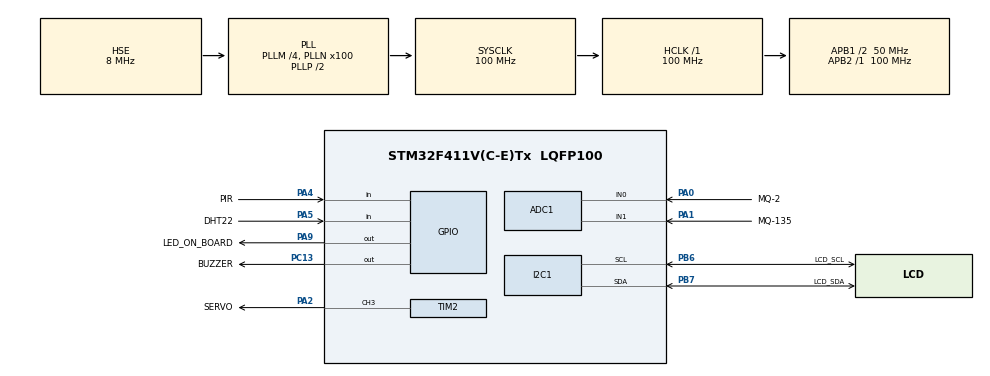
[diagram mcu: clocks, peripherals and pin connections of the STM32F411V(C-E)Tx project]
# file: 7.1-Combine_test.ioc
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ADC1.Channel-0\#ChannelRegularConversion=ADC_CHANNEL_0
ADC1.Channel-5\#ChannelRegularConversion=ADC_CHANNEL_1
ADC1.ContinuousConvMode=ENABLE
ADC1.DMAContinuousRequests=ENABLE
ADC1.InjNumberOfConversion=0
ADC1.NbrOfConversion=2
ADC1.NbrOfConversionFlag=1
ADC1.Rank-0\#ChannelRegularConversion=1
ADC1.Rank-5\#ChannelRegularConversion=2
ADC1.SamplingTime-0\#ChannelRegularConversion=ADC_SAMPLETIME_84CYCLES
ADC1.SamplingTime-5\#ChannelRegularConversion=ADC_SAMPLETIME_84CYCLES
ADC1.ScanConvMode=ENABLE
ADC1.master=1
Dma.ADC1.0.Direction=DMA_PERIPH_TO_MEMORY
Dma.ADC1.0.FIFOMode=DMA_FIFOMODE_DISABLE
Dma.ADC1.0.Instance=DMA2_Stream0
Dma.ADC1.0.MemDataAlignment=DMA_MDATAALIGN_HALFWORD
Dma.ADC1.0.MemInc=DMA_MINC_ENABLE
Dma.ADC1.0.Mode=DMA_CIRCULAR
Dma.ADC1.0.PeriphDataAlignment=DMA_PDATAALIGN_HALFWORD
Dma.ADC1.0.PeriphInc=DMA_PINC_DISABLE
Dma.ADC1.0.Priority=DMA_PRIORITY_LOW
Dma.Request0=ADC1
Mcu.Family=STM32F4
Mcu.Name=STM32F411V(C-E)Tx
Mcu.Package=LQFP100
NVIC.DMA2_Stream0_IRQn=true\:0\:0\:false\:false\:true\:false\:true\:true
NVIC.PriorityGroup=NVIC_PRIORITYGROUP_4
PA0-WKUP.GPIO_Label=MQ-2
PA0-WKUP.Signal=ADCx_IN0
PA1.GPIO_Label=MQ-135
PA1.Signal=ADCx_IN1
PA13.Mode=Serial_Wire
PA13.Signal=SYS_JTMS-SWDIO
PA14.Mode=Serial_Wire
PA14.Signal=SYS_JTCK-SWCLK
PA2.GPIO_Label=SERVO
PA2.Signal=S_TIM2_CH3
PA4.GPIO_Label=PIR
PA4.Signal=GPIO_Input
PA5.GPIO_Label=DHT22
PA5.Signal=GPIO_Input
PA9.GPIO_Label=LED_ON_BOARD
PA9.Signal=GPIO_Output
PB6.GPIO_Label=LCD_SCL
PB6.Mode=I2C
PB6.Signal=I2C1_SCL
PB7.GPIO_Label=LCD_SDA
PB7.Mode=I2C
PB7.Signal=I2C1_SDA
PC13-ANTI_TAMP.GPIO_Label=BUZZER
PC13-ANTI_TAMP.Signal=GPIO_Output
PH0\ -\ OSC_IN.Mode=HSE-External-Oscillator
PH0\ -\ OSC_IN.Signal=RCC_OSC_IN
PH1\ -\ OSC_OUT.Mode=HSE-External-Oscillator
PH1\ -\ OSC_OUT.Signal=RCC_OSC_OUT
ProjectManager.HeapSize=0x200
ProjectManager.StackSize=0x400
ProjectManager.TargetToolchain=STM32CubeIDE
RCC.48MHZClocksFreq_Value=50000000
RCC.AHBFreq_Value=100000000
RCC.APB1CLKDivider=RCC_HCLK_DIV2
RCC.APB1Freq_Value=50000000
RCC.APB1TimFreq_Value=100000000
RCC.APB2Freq_Value=100000000
RCC.APB2TimFreq_Value=100000000
RCC.CortexFreq_Value=100000000
RCC.HCLKFreq_Value=100000000
RCC.HSE_VALUE=8000000
RCC.HSI_VALUE=16000000
RCC.LSE_VALUE=32768
RCC.PLLM=4
RCC.PLLN=100
RCC.PLLSourceVirtual=RCC_PLLSOURCE_HSE
RCC.SYSCLKFreq_VALUE=100000000
RCC.SYSCLKSource=RCC_SYSCLKSOURCE_PLLCLK
RCC.VCOOutputFreq_Value=200000000
SH.ADCx_IN0.0=ADC1_IN0,IN0
SH.ADCx_IN1.0=ADC1_IN1,IN1
SH.S_TIM2_CH3.0=TIM2_CH3,PWM Generation3 CH3
TIM2.Channel-PWM\ Generation3\ CH3=TIM_CHANNEL_3
TIM2.Period=19999
TIM2.Prescaler=99
VP_TIM2_VS_ClockSourceINT.Mode=Internal
board=custom

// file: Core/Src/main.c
/* USER CODE BEGIN Header */
/**
  ******************************************************************************
  * @file           : main.c
  * @brief          : Main program body
  ******************************************************************************
  * @attention
  *
  * Copyright (c) 2025 STMicroelectronics.
  * All rights reserved.
  *
  * This software is licensed under terms that can be found in the LICENSE file
  * in the root directory of this software component.
  * If no LICENSE file comes with this software, it is provided AS-IS.
  *
  ******************************************************************************
  */
/* USER CODE END Header */
#include "main.h"

/* USER CODE BEGIN Includes */
#include "i2c_lcd.h"
#include "dhtxx.h"
#include "dwt.h"
#include <stdio.h>
/* USER CODE END Includes */

/* USER CODE BEGIN PD */
#define GAS_ALARM_THRESHOLD 1000 // Ngưỡng báo động cho cảm biến MQ-2
/* USER CODE END PD */

ADC_HandleTypeDef hadc1;
DMA_HandleTypeDef hdma_adc1;

I2C_HandleTypeDef hi2c1;

TIM_HandleTypeDef htim2;

/* USER CODE BEGIN PV */
// --- Handles cho các thư viện và ngoại vi ---
I2C_LCD_HandleTypeDef lcd;
DHTxx_Drv_t dht22;

// --- Biến lưu giá trị các cảm biến ---
float temperature, humidity;
uint32_t pir_state;
uint32_t adc_dma_buffer[2]; // Mảng chứa 2 giá trị ADC từ DMA

// --- Các chuỗi ký tự để hiển thị lên LCD ---
char line1_str[17];
char line2_str[17];
/* USER CODE END PV */

void SystemClock_Config(void);
static void MX_GPIO_Init(void);
static void MX_DMA_Init(void);
static void MX_ADC1_Init(void);
static void MX_I2C1_Init(void);
static void MX_TIM2_Init(void);
/* USER CODE BEGIN PFP */
static void Manual_DMA_Link_Init(void); // Hàm cấu hình DMA bằng tay
/* USER CODE END PFP */

int main(void)
{
  /* --- KHỐI KHỞI TẠO CỦA STM32 --- */
  HAL_Init();
  SystemClock_Config();

  /* --- KHỞI TẠO CÁC NGOẠI VI ĐÃ CẤU HÌNH TRONG CUBEMX --- */
  MX_GPIO_Init();
  MX_DMA_Init();
  MX_ADC1_Init();
  MX_I2C1_Init();
  MX_TIM2_Init();

  /* USER CODE BEGIN 2 */
  /* --- KHỞI TẠO CÁC THƯ VIỆN VÀ BẮT ĐẦU CÁC TIẾN TRÌNH --- */
  DwtInit();

  // Khởi tạo LCD
  lcd.hi2c = &hi2c1;
  lcd.address = 0x4E;
  lcd_init(&lcd);

  // Khởi tạo cảm biến DHT22
  dht22.DataPort = DHT22_GPIO_Port;
  dht22.DataPin = DHT22_Pin;
  dht22.Type = DHT22;

  // Cấu hình và liên kết DMA bằng tay để đảm bảo hoạt động
  Manual_DMA_Link_Init();

  // Bắt đầu quá trình đọc ADC bằng DMA
  HAL_ADC_Start_DMA(&hadc1, adc_dma_buffer, 2);

  // Bắt đầu phát xung PWM cho Servo
  HAL_TIM_PWM_Start(&htim2, TIM_CHANNEL_3);

  // Thiết lập trạng thái ban đầu cho các thiết bị
  __HAL_TIM_SET_COMPARE(&htim2, TIM_CHANNEL_3, 500); // Đóng cửa
  lcd_puts(&lcd, "System ready!");
  HAL_Delay(2000);
  lcd_clear(&lcd);
  /* USER CODE END 2 */

  /* --- VÒNG LẶP CHÍNH CỦA CHƯƠNG TRÌNH --- */
  while (1)
  {
    /* --- 1. ĐỌC DỮ LIỆU TỪ TẤT CẢ CẢM BIẾN --- */
    DHT_GetData(&dht22);
    temperature = dht22.Temperature;
    humidity = dht22.Humidity;
    pir_state = HAL_GPIO_ReadPin(PIR_GPIO_Port, PIR_Pin);

    // Lấy giá trị MQ-2 và MQ-135 trực tiếp từ bộ đệm DMA đã được cập nhật ở nền
    uint32_t mq2_value = adc_dma_buffer[0];
    uint32_t mq135_value = adc_dma_buffer[1];

    /* --- 2. XỬ LÝ LOGIC VÀ ĐIỀU KHIỂN (STATE MACHINE) --- */
    // Ưu tiên cao nhất: Báo động khí gas
    if (mq2_value > GAS_ALARM_THRESHOLD)
    {
      HAL_GPIO_WritePin(BUZZER_GPIO_Port, BUZZER_Pin, GPIO_PIN_SET);
      sprintf(line1_str, "CANH BAO GAS!  ");
      sprintf(line2_str, "Muc do: %-5lu", mq2_value);
    }
    // Ưu tiên thứ hai: Phát hiện chuyển động
    else if (pir_state == GPIO_PIN_SET)
    {
      HAL_GPIO_WritePin(LED_ON_BOARD_GPIO_Port, LED_ON_BOARD_Pin, GPIO_PIN_SET);
      HAL_GPIO_WritePin(BUZZER_GPIO_Port, BUZZER_Pin, GPIO_PIN_RESET);
      __HAL_TIM_SET_COMPARE(&htim2, TIM_CHANNEL_3, 1500); // Mở cửa
      sprintf(line1_str, "Phat hien       ");
      sprintf(line2_str, "chuyen dong...  ");
    }
    // Trạng thái bình thường
    else
    {
      HAL_GPIO_WritePin(LED_ON_BOARD_GPIO_Port, LED_ON_BOARD_Pin, GPIO_PIN_RESET);
      HAL_GPIO_WritePin(BUZZER_GPIO_Port, BUZZER_Pin, GPIO_PIN_RESET);
      __HAL_TIM_SET_COMPARE(&htim2, TIM_CHANNEL_3, 500); // Đóng cửa
      sprintf(line1_str, "NhietDo: %.1f C", temperature);
      sprintf(line2_str, "AQI Raw: %-5lu", mq135_value);
    }

    /* --- 3. CẬP NHẬT MÀN HÌNH LCD --- */
    lcd_clear(&lcd);
    lcd_gotoxy(&lcd, 0, 0);
    lcd_puts(&lcd, line1_str);
    lcd_gotoxy(&lcd, 0, 1);
    lcd_puts(&lcd, line2_str);

    HAL_Delay(1000);
  }
}

void SystemClock_Config(void)
{
  RCC_OscInitTypeDef RCC_OscInitStruct = {0};
  RCC_ClkInitTypeDef RCC_ClkInitStruct = {0};

  /** Configure the main internal regulator output voltage
  */
  __HAL_RCC_PWR_CLK_ENABLE();
  __HAL_PWR_VOLTAGESCALING_CONFIG(PWR_REGULATOR_VOLTAGE_SCALE1);

  /** Initializes the RCC Oscillators according to the specified parameters
  * in the RCC_OscInitTypeDef structure.
  */
  RCC_OscInitStruct.OscillatorType = RCC_OSCILLATORTYPE_HSE;
  RCC_OscInitStruct.HSEState = RCC_HSE_ON;
  RCC_OscInitStruct.PLL.PLLState = RCC_PLL_ON;
  RCC_OscInitStruct.PLL.PLLSource = RCC_PLLSOURCE_HSE;
  RCC_OscInitStruct.PLL.PLLM = 4;
  RCC_OscInitStruct.PLL.PLLN = 100;
  RCC_OscInitStruct.PLL.PLLP = RCC_PLLP_DIV2;
  RCC_OscInitStruct.PLL.PLLQ = 4;
  if (HAL_RCC_OscConfig(&RCC_OscInitStruct) != HAL_OK)
  {
    Error_Handler();
  }

  /** Initializes the CPU, AHB and APB buses clocks
  */
  RCC_ClkInitStruct.ClockType = RCC_CLOCKTYPE_HCLK|RCC_CLOCKTYPE_SYSCLK
                              |RCC_CLOCKTYPE_PCLK1|RCC_CLOCKTYPE_PCLK2;
  RCC_ClkInitStruct.SYSCLKSource = RCC_SYSCLKSOURCE_PLLCLK;
  RCC_ClkInitStruct.AHBCLKDivider = RCC_SYSCLK_DIV1;
  RCC_ClkInitStruct.APB1CLKDivider = RCC_HCLK_DIV2;
  RCC_ClkInitStruct.APB2CLKDivider = RCC_HCLK_DIV1;

  if (HAL_RCC_ClockConfig(&RCC_ClkInitStruct, FLASH_LATENCY_3) != HAL_OK)
  {
    Error_Handler();
  }
}

static void MX_ADC1_Init(void)
{
  ADC_ChannelConfTypeDef sConfig = {0};

  // Cấu hình ADC chung
  hadc1.Instance = ADC1;
  hadc1.Init.ClockPrescaler = ADC_CLOCK_SYNC_PCLK_DIV4;
  hadc1.Init.Resolution = ADC_RESOLUTION_12B;
  hadc1.Init.ScanConvMode = ENABLE;
  hadc1.Init.ContinuousConvMode = ENABLE;
  hadc1.Init.DiscontinuousConvMode = DISABLE;
  hadc1.Init.ExternalTrigConvEdge = ADC_EXTERNALTRIGCONVEDGE_NONE;
  hadc1.Init.ExternalTrigConv = ADC_SOFTWARE_START;
  hadc1.Init.DataAlign = ADC_DATAALIGN_RIGHT;
  hadc1.Init.NbrOfConversion = 2;
  hadc1.Init.DMAContinuousRequests = ENABLE; // Bật yêu cầu DMA liên tục
  hadc1.Init.EOCSelection = ADC_EOC_SINGLE_CONV;
  if (HAL_ADC_Init(&hadc1) != HAL_OK)
  {
    Error_Handler();
  }

  // Cấu hình kênh 1 (Rank 1) cho MQ-2 (PA0)
  sConfig.Channel = ADC_CHANNEL_0;
  sConfig.Rank = 1;
  sConfig.SamplingTime = ADC_SAMPLETIME_84CYCLES;
  if (HAL_ADC_ConfigChannel(&hadc1, &sConfig) != HAL_OK)
  {
    Error_Handler();
  }

  // Cấu hình kênh 2 (Rank 2) cho MQ-135 (PA1)
  sConfig.Channel = ADC_CHANNEL_1;
  sConfig.Rank = 2;
  if (HAL_ADC_ConfigChannel(&hadc1, &sConfig) != HAL_OK)
  {
    Error_Handler();
  }
}

static void MX_I2C1_Init(void)
{

  hi2c1.Instance = I2C1;
  hi2c1.Init.ClockSpeed = 100000;
  hi2c1.Init.DutyCycle = I2C_DUTYCYCLE_2;
  hi2c1.Init.OwnAddress1 = 0;
  hi2c1.Init.AddressingMode = I2C_ADDRESSINGMODE_7BIT;
  hi2c1.Init.DualAddressMode = I2C_DUALADDRESS_DISABLE;
  hi2c1.Init.OwnAddress2 = 0;
  hi2c1.Init.GeneralCallMode = I2C_GENERALCALL_DISABLE;
  hi2c1.Init.NoStretchMode = I2C_NOSTRETCH_DISABLE;
  if (HAL_I2C_Init(&hi2c1) != HAL_OK)
  {
    Error_Handler();
  }

}

static void MX_TIM2_Init(void)
{
  TIM_MasterConfigTypeDef sMasterConfig = {0};
  TIM_OC_InitTypeDef sConfigOC = {0};

  htim2.Instance = TIM2;
  htim2.Init.Prescaler = 99;
  htim2.Init.CounterMode = TIM_COUNTERMODE_UP;
  htim2.Init.Period = 19999;
  htim2.Init.ClockDivision = TIM_CLOCKDIVISION_DIV1;
  htim2.Init.AutoReloadPreload = TIM_AUTORELOAD_PRELOAD_ENABLE; // Bật Preload
  if (HAL_TIM_PWM_Init(&htim2) != HAL_OK) // Chỉ dùng PWM_Init là đủ
  {
    Error_Handler();
  }
  sMasterConfig.MasterOutputTrigger = TIM_TRGO_RESET;
  sMasterConfig.MasterSlaveMode = TIM_MASTERSLAVEMODE_DISABLE;
  if (HAL_TIMEx_MasterConfigSynchronization(&htim2, &sMasterConfig) != HAL_OK)
  {
    Error_Handler();
  }
  sConfigOC.OCMode = TIM_OCMODE_PWM1;
  sConfigOC.Pulse = 500; // Đặt giá trị ban đầu
  sConfigOC.OCPolarity = TIM_OCPOLARITY_HIGH;
  sConfigOC.OCFastMode = TIM_OCFAST_DISABLE;
  if (HAL_TIM_PWM_ConfigChannel(&htim2, &sConfigOC, TIM_CHANNEL_3) != HAL_OK)
  {
    Error_Handler();
  }
  HAL_TIM_MspPostInit(&htim2);
}

static void MX_DMA_Init(void)
{

  /* DMA controller clock enable */
  __HAL_RCC_DMA2_CLK_ENABLE();

  /* DMA interrupt init */
  /* DMA2_Stream0_IRQn interrupt configuration */
  HAL_NVIC_SetPriority(DMA2_Stream0_IRQn, 0, 0);
  HAL_NVIC_EnableIRQ(DMA2_Stream0_IRQn);

}

static void MX_GPIO_Init(void)
{
  GPIO_InitTypeDef GPIO_InitStruct = {0};

  /* GPIO Ports Clock Enable */
  __HAL_RCC_GPIOC_CLK_ENABLE();
  __HAL_RCC_GPIOH_CLK_ENABLE();
  __HAL_RCC_GPIOA_CLK_ENABLE();
  __HAL_RCC_GPIOB_CLK_ENABLE();

  /*Configure GPIO pin Output Level */
  HAL_GPIO_WritePin(BUZZER_GPIO_Port, BUZZER_Pin, GPIO_PIN_RESET);
  HAL_GPIO_WritePin(LED_ON_BOARD_GPIO_Port, LED_ON_BOARD_Pin, GPIO_PIN_RESET);

  /*Configure GPIO pin : BUZZER_Pin */
  GPIO_InitStruct.Pin = BUZZER_Pin;
  GPIO_InitStruct.Mode = GPIO_MODE_OUTPUT_PP;
  GPIO_InitStruct.Pull = GPIO_NOPULL;
  GPIO_InitStruct.Speed = GPIO_SPEED_FREQ_LOW;
  HAL_GPIO_Init(BUZZER_GPIO_Port, &GPIO_InitStruct);

  /*Configure GPIO pins : PIR_Pin DHT22_Pin */
  GPIO_InitStruct.Pin = PIR_Pin|DHT22_Pin;
  GPIO_InitStruct.Mode = GPIO_MODE_INPUT;
  GPIO_InitStruct.Pull = GPIO_NOPULL;
  HAL_GPIO_Init(GPIOA, &GPIO_InitStruct);

  /*Configure GPIO pin : LED_ON_BOARD_Pin */
  GPIO_InitStruct.Pin = LED_ON_BOARD_Pin;
  GPIO_InitStruct.Mode = GPIO_MODE_OUTPUT_PP;
  GPIO_InitStruct.Pull = GPIO_NOPULL;
  GPIO_InitStruct.Speed = GPIO_SPEED_FREQ_LOW;
  HAL_GPIO_Init(LED_ON_BOARD_GPIO_Port, &GPIO_InitStruct);

  /*Configure GPIO pin : SERVO_Pin */
  GPIO_InitStruct.Pin = SERVO_Pin;
  GPIO_InitStruct.Mode = GPIO_MODE_AF_PP;
  GPIO_InitStruct.Pull = GPIO_NOPULL;
  GPIO_InitStruct.Speed = GPIO_SPEED_FREQ_LOW;
  GPIO_InitStruct.Alternate = GPIO_AF1_TIM2;
  HAL_GPIO_Init(SERVO_GPIO_Port, &GPIO_InitStruct);

  /* === BỔ SUNG CẤU HÌNH CHO 2 CHÂN ADC (PA0, PA1) === */
  GPIO_InitStruct.Pin = MQ_2_Pin|MQ_135_Pin;
  GPIO_InitStruct.Mode = GPIO_MODE_ANALOG; // Chế độ Analog
  GPIO_InitStruct.Pull = GPIO_NOPULL;
  HAL_GPIO_Init(GPIOA, &GPIO_InitStruct);
  /* ================================================= */
}

/* USER CODE BEGIN 4 */
/**
  * @brief  Hàm cấu hình và liên kết DMA với ADC một cách thủ công.
  * @note   Hàm này được tạo ra để khắc phục lỗi generate code của CubeMX,
  * đảm bảo ADC và DMA luôn được liên kết đúng cách.
  * @retval None
  */
static void Manual_DMA_Link_Init(void)
{
  // 1. Cấu hình chi tiết cho luồng DMA mà ADC1 sẽ sử dụng
  hdma_adc1.Instance = DMA2_Stream0;
  hdma_adc1.Init.Channel = DMA_CHANNEL_0;
  hdma_adc1.Init.Direction = DMA_PERIPH_TO_MEMORY;
  hdma_adc1.Init.PeriphInc = DMA_PINC_DISABLE;
  hdma_adc1.Init.MemInc = DMA_MINC_ENABLE;
  hdma_adc1.Init.PeriphDataAlignment = DMA_PDATAALIGN_WORD;
  hdma_adc1.Init.MemDataAlignment = DMA_MDATAALIGN_WORD;
  hdma_adc1.Init.Mode = DMA_CIRCULAR;
  hdma_adc1.Init.Priority = DMA_PRIORITY_HIGH;
  hdma_adc1.Init.FIFOMode = DMA_FIFOMODE_DISABLE;
  if (HAL_DMA_Init(&hdma_adc1) != HAL_OK)
  {
    Error_Handler();
  }

  // 2. "Giới thiệu" ADC với DMA. Đây là bước quan trọng nhất!
  __HAL_LINKDMA(&hadc1, DMA_Handle, hdma_adc1);
}
/* USER CODE END 4 */

void Error_Handler(void)
{
  __disable_irq();
  while (1)
  {
  }
}
